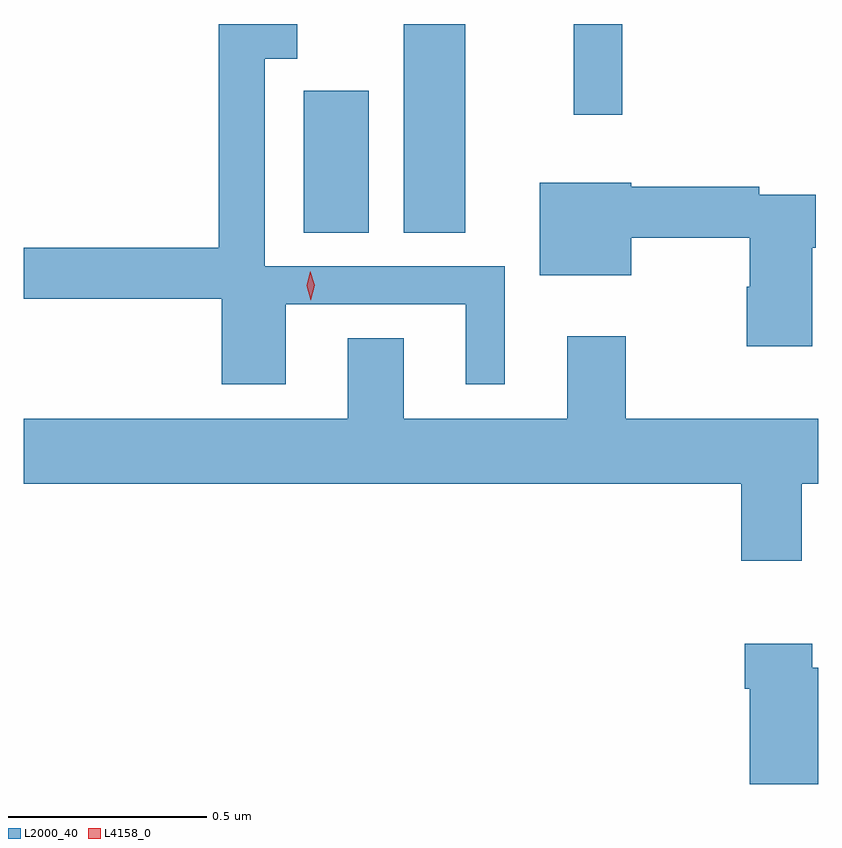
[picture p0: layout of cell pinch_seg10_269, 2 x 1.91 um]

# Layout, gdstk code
import gdstk
lib = gdstk.Library(unit=1e-6, precision=1e-09)
def R(c, l, rs):  # rectangles x0, y0, x1, y1
    for r in rs: c.add(gdstk.rectangle(r[:2], r[2:], *l))
def P(c, l, *ps):  # polygons
    for p in ps: c.add(gdstk.Polygon(p, *l))
L2000_40 = (2000, 40)
L4158_0 = (4158, 0)

pinch_seg10_269 = lib.new_cell('pinch_seg10_269')
R(pinch_seg10_269, L2000_40, [(573.812,1304.944,573.976,1305.301), (574.064,1304.944,574.219,1305.469), (574.492,1305.24,574.613,1305.469)])
P(pinch_seg10_269, L2000_40, [(573.766,1304.763),(574.22,1304.763),(574.22,1304.562),(574.318,1304.562),(574.318,1304.859),(573.714,1304.859),(573.714,1305.381),(573.796,1305.381),(573.796,1305.469),(573.598,1305.469),(573.598,1304.906),(573.107,1304.906),(573.107,1304.778),(573.605,1304.778),(573.605,1304.562),(573.766,1304.562)],
  [(575.092,1304.906),(575.1,1304.906),(575.1,1305.039),(574.958,1305.039),(574.958,1305.059),(574.636,1305.059),(574.636,1305.07),(574.406,1305.07),(574.406,1304.837),(574.636,1304.837),(574.636,1304.931),(574.934,1304.931),(574.934,1304.808),(574.927,1304.808),(574.927,1304.658),(575.092,1304.658)],
  [(574.913,1304.118),(575.065,1304.118),(575.065,1304.312),(575.107,1304.312),(575.107,1304.476),(574.623,1304.476),(574.623,1304.683),(574.475,1304.683),(574.475,1304.476),(574.063,1304.476),(574.063,1304.678),(573.923,1304.678),(573.923,1304.476),(573.107,1304.476),(573.107,1304.312),(574.913,1304.312)],
  [(575.107,1303.848),(575.092,1303.848),(575.092,1303.909),(574.922,1303.909),(574.922,1303.796),(574.934,1303.796),(574.934,1303.556),(575.107,1303.556)])
P(pinch_seg10_269, L4158_0, [(573.83,1304.774),(573.83,1304.774),(573.819,1304.81),(573.828,1304.847),(573.828,1304.847),(573.828,1304.847),(573.839,1304.811),(573.83,1304.774)])

lib.write_gds('pinch_seg10_269.gds')
